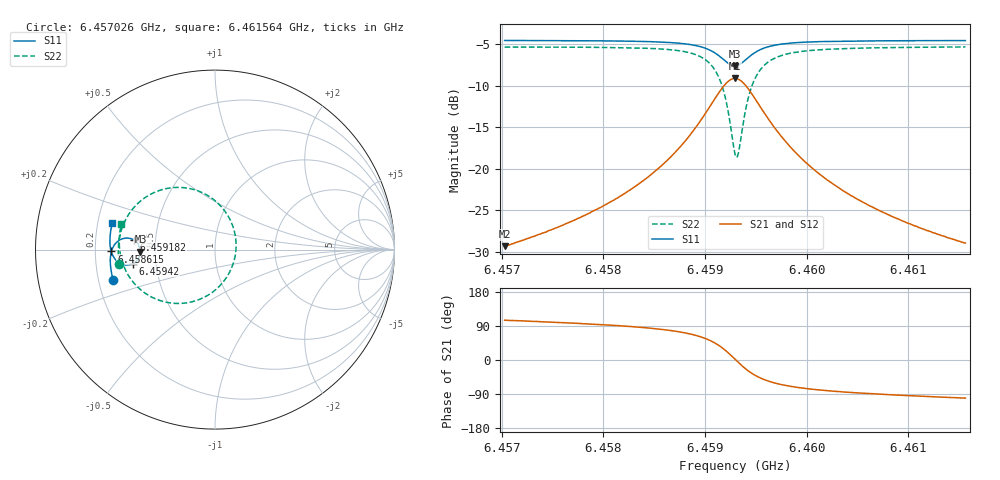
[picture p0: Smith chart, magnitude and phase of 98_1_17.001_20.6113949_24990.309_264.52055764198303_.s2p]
#  HZ  S  RI  R  50.00
! Rohde & Schwarz Vector Network Analyzer
! Rohde-Schwarz,ZNB20-2Port,1311601062101988,3.16
! Created: UTC 3/20/2024, 10:56:24 PM
! freq[Hz]  re:S11  im:S11  re:S21  im:S21  re:S12  im:S12  re:S22  im:S22
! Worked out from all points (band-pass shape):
!   401 points, 6.457026 GHz to 6.461564 GHz, reference 50 ohm
!   highest |S21| = -9.13 dB at 6.459295 GHz (marker M1); lowest = -29.3 dB at 6.457026 GHz (marker M2)
!   |S21| within 3 dB of the highest: 6.459068 GHz to 6.459522 GHz (454.4 kHz wide, 0.00703 % of centre)
!   lowest |S11| = -7.6 dB at 6.459295 GHz (marker M3), VSWR 2.42, Z = 20.7 - j0.531 ohm
!   |S11| at or under -10 dB: nowhere
!   |S22| runs from -18.6 to -5.3 dB; largest |S21 - S12| = 0.014
!   S11 on the Smith chart (normalised r, x): 6.457026 GHz: 0.26, -0.14; 6.458615 GHz: 0.27, -0.01; 6.459182 GHz: 0.38, +0.05; 6.45942 GHz: 0.37, -0.07; 6.461564 GHz: 0.26, +0.12
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6.4570261e9  -0.5672 -0.1698  -0.00889 0.033  -0.00714 0.0328  -0.5341 -0.0797
6.4577863e9  -0.5806 -0.1031  -0.00535 0.0512  -0.00289 0.0504  -0.5388 0.0102
6.4581947e9  -0.5834 -0.062  0.000467 0.0701  0.00373 0.0688  -0.5304 0.075
6.4585464e9  -0.5793 -0.0196  0.0149 0.0999  0.0188 0.0972  -0.5038 0.1551
6.4586145e9  -0.577 -0.0102  0.0202 0.1084  0.0243 0.1052  -0.4935 0.175
6.4588074e9  -0.5642 0.0204  0.0472 0.1396  0.0514 0.1346  -0.4428 0.2444
6.4589549e9  -0.5413 0.0467  0.0932 0.1704  0.0965 0.1636  -0.3581 0.3088
6.4590911e9  -0.4968 0.0642  0.1816 0.1867  0.1825 0.1794  -0.1967 0.3464
6.4591818e9  -0.4515 0.0535  0.2724 0.1546  0.2726 0.1487  -0.0289 0.2941
6.4592499e9  -0.4222 0.0206  0.3334 0.0816  0.3355 0.0763  0.0866 0.1621
6.4592953e9  -0.4153 -0.0106  0.3493 0.0128  0.3531 0.00577  0.1176 0.0336
6.4593066e9  -0.4158 -0.0189  0.3492 -0.00514  0.3531 -0.0127  0.1171 -0.000269
6.4593293e9  -0.4194 -0.0348  0.3432 -0.0402  0.3472 -0.0493  0.1052 -0.0665
6.4593747e9  -0.4353 -0.0611  0.3139 -0.1006  0.3163 -0.1125  0.046 -0.18
6.4594201e9  -0.4575 -0.0779  0.2714 -0.1416  0.2706 -0.155  -0.0402 -0.2548
6.4595109e9  -0.5014 -0.0848  0.1857 -0.1728  0.1794 -0.1844  -0.2105 -0.3001
6.4596584e9  -0.5459 -0.0644  0.097 -0.1585  0.0884 -0.1647  -0.3793 -0.2494
6.4598172e9  -0.5677 -0.0368  0.052 -0.1303  0.0441 -0.133  -0.4598 -0.1765
6.4600555e9  -0.5807 -0.00127  0.0225 -0.0983  0.0167 -0.0988  -0.5077 -0.0936
6.4604072e9  -0.5856 0.0407  0.006 -0.0705  0.00196 -0.07  -0.5294 -0.0122
6.4608157e9  -0.5837 0.082  -0.0015 -0.0525  -0.00432 -0.0515  -0.5333 0.0538
6.4615645e9  -0.572 0.1486  -0.00648 -0.0351  -0.00825 -0.0341  -0.5221 0.1429
